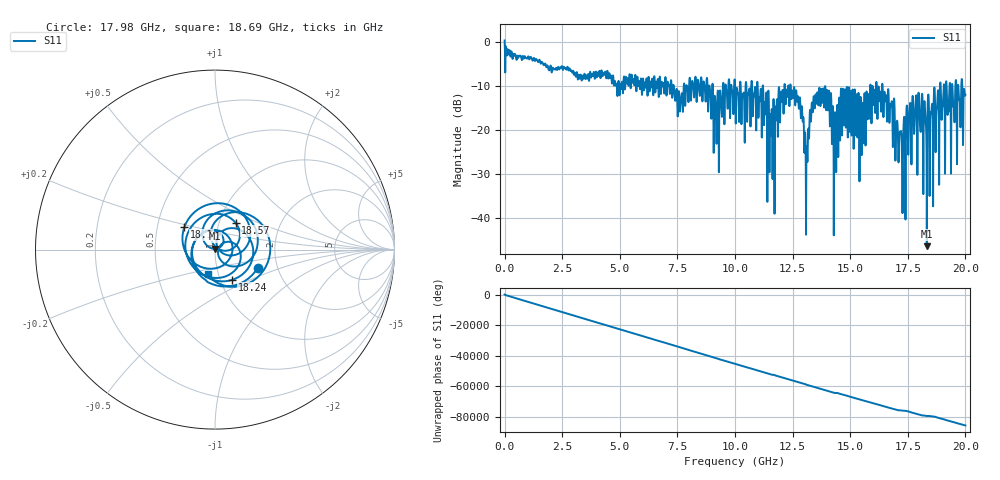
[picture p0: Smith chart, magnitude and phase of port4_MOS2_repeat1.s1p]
! MS46122B
! 2250307/22442219
! 7/23/2025 1:19:38 PM
! C:\USERS\SPARKY\DOCUMENTS\VNA_DATA\JULY23_2025\295K\PORT4_MOS2_REPEAT1.S1P
! CHANNEL.1
! TR.MEASUREMENT
! RAW.DATA
# GHZ S RI R 50.0
! FREQ.GHZ  S11RE  S11IM
!; PortSelection: Port_1
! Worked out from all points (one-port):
!   10001 points, 1 MHz to 20 GHz, reference 50 ohm
!   lowest |S11| = -46.3 dB at 18.33 GHz (marker M1), VSWR 1.01, Z = 50.2 + j0.44 ohm
!   |S11| at or under -10 dB: 12.42 GHz to 13.91 GHz (1.492 GHz wide, 11.3 % of centre); 13.92 GHz to 15.87 GHz (1.953 GHz wide, 13.1 % of centre); 16.41 GHz to 18.9 GHz (2.49 GHz wide, 14.1 % of centre) (the widest 3 of 62)
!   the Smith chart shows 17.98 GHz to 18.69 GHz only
!   S11 on the Smith chart (normalised r, x): 17.98 GHz: 1.58, -0.34; 18.1 GHz: 0.69, +0.18; 18.24 GHz: 1.14, -0.40; 18.57 GHz: 1.20, +0.37; 18.69 GHz: 0.89, -0.25
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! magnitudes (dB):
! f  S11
! 1 MHz  0.4
! 2.501 GHz  -5.6
! 5.001 GHz  -11.2
! 7.501 GHz  -14.7
! 8.711 GHz  -12.2
! 9.231 GHz  -13.4
! 10 GHz  -9.3
! 11.04 GHz  -13.0
! 11.64 GHz  -25.3
! 12.5 GHz  -11.4
! 12.89 GHz  -14.9
! 13.09 GHz  -30.6
! 13.58 GHz  -11.4
! 14.08 GHz  -11.0
! 14.3 GHz  -21.8
! 14.68 GHz  -10.8
! 15 GHz  -14.1
! 15.49 GHz  -24.1
! 16.47 GHz  -12.3
! 17.19 GHz  -20.3
! 17.5 GHz  -19.9
! 17.98 GHz  -11.7
! 18.1 GHz  -13.5
! 18.24 GHz  -14.2
! 18.33 GHz  -46.3
! 18.57 GHz  -14.5
! 18.69 GHz  -16.8
! 20 GHz  -12.0
